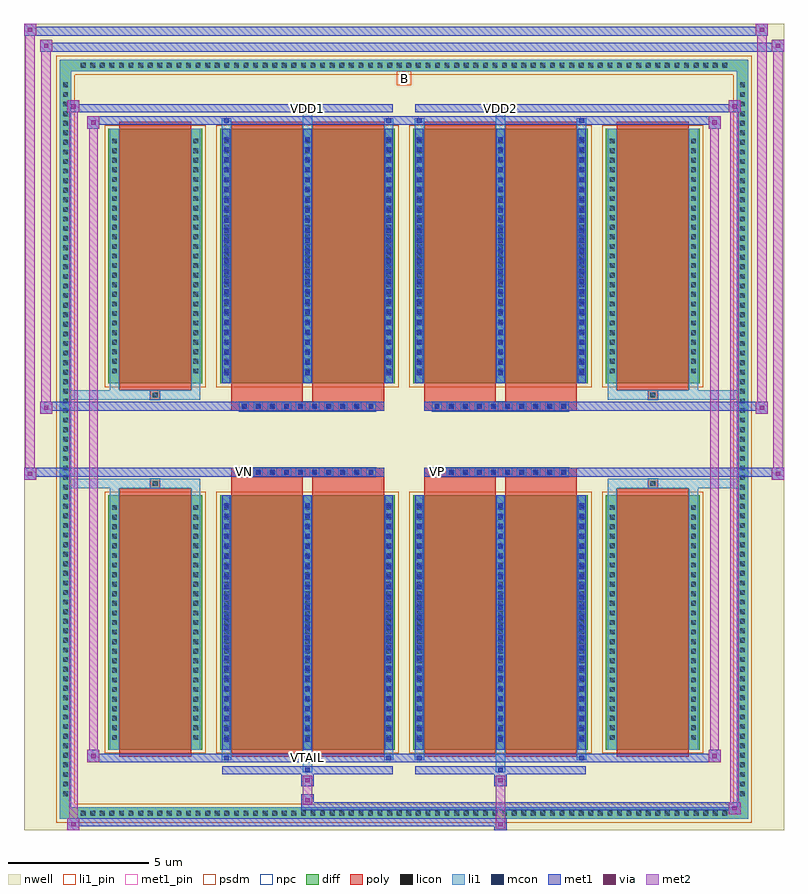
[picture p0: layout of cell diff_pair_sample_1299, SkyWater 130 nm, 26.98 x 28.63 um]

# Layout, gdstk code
import gdstk
lib = gdstk.Library(unit=1e-6, precision=5e-09)
def R(c, l, rs):  # rectangles x0, y0, x1, y1
    for r in rs: c.add(gdstk.rectangle(r[:2], r[2:], *l))
def A(c, l, x, y, w, h, nx, ny, dx, dy):  # array of equal rectangles
    R(c, l, [(x+i*dx, y+j*dy, x+i*dx+w, y+j*dy+h) for i in range(nx) for j in range(ny)])
def P(c, l, *ps):  # polygons
    for p in ps: c.add(gdstk.Polygon(p, *l))
nwell = (64, 20)
diff = (65, 20)
poly = (66, 20)
licon = (66, 44)
li1_pin = (67, 16)
li1 = (67, 20)
mcon = (67, 44)
met1_pin = (68, 16)
met1 = (68, 20)
via = (68, 44)
met2 = (69, 20)
psdm = (94, 20)
npc = (95, 20)

diff_pair_sample_1299 = lib.new_cell('diff_pair_sample_1299')
R(diff_pair_sample_1299, nwell, [(-13.49,-13.88,13.49,14.75), (-10.81,-12.07,-0.01,-0.805), (0.01,-12.07,10.81,-0.805), (-10.81,0.805,-0.01,12.07), (0.01,0.805,10.81,12.07)])
A(diff_pair_sample_1299, diff, -11.595, -13.48, 0.41, 0.41, 68, 2, 0.34, 26.55)
A(diff_pair_sample_1299, diff, -12.22, -12.785, 0.41, 0.41, 1, 75, 0, 0.34)
A(diff_pair_sample_1299, diff, 11.81, -12.785, 0.41, 0.41, 1, 75, 0, 0.34)
R(diff_pair_sample_1299, diff, [(-11.595,-13.48,11.595,-13.07), (-12.22,-12.785,-11.81,12.785), (11.81,-12.785,12.22,12.785), (-10.5,-11.025,-7.17,-1.985), (-6.53,-11.025,-0.32,-1.985), (0.32,-11.025,6.53,-1.985), (7.17,-11.025,10.5,-1.985), (-10.5,1.985,-7.17,11.025), (-6.53,1.985,-0.32,11.025), (0.32,1.985,6.53,11.025), (7.17,1.985,10.5,11.025), (-11.595,13.07,11.595,13.48)])
P(diff_pair_sample_1299, diff, [(12.22,13.48),(-12.22,13.48),(-12.22,-13.07),(-11.81,-13.07),(-11.81,13.07),(11.81,13.07),(11.81,-13.07),(-11.81,-13.07),(-12.22,-13.07),(-12.22,-13.48),(12.22,-13.48)])
A(diff_pair_sample_1299, poly, -5.84, -1.335, 0.33, 0.33, 10, 2, 0.5, 2.34)
A(diff_pair_sample_1299, poly, 1.01, -1.335, 0.33, 0.33, 10, 2, 0.5, 2.34)
R(diff_pair_sample_1299, poly, [(-10.11,-11.275,-7.56,-1.735), (-6.14,-11.275,-3.59,-1.735), (-3.26,-11.275,-0.71,-1.735), (0.71,-11.275,3.26,-1.735), (3.59,-11.275,6.14,-1.735), (7.56,-11.275,10.11,-1.735), (-9,-1.735,-8.67,-1.405), (-9,-1.735,-8.67,-1.405), (-6.14,-1.735,-3.59,-1.335), (-3.26,-1.735,-0.71,-1.335), (0.71,-1.735,3.26,-1.335), (3.59,-1.735,6.14,-1.335), (8.67,-1.735,9,-1.405), (8.67,-1.735,9,-1.405), (-6.14,-1.335,-0.71,-1.005), (0.71,-1.335,6.14,-1.005), (-6.14,1.005,-0.71,1.335), (0.71,1.005,6.14,1.335), (-6.14,1.335,-3.59,1.735), (-3.26,1.335,-0.71,1.735), (0.71,1.335,3.26,1.735), (3.59,1.335,6.14,1.735), (-9,1.405,-8.67,1.735), (-9,1.405,-8.67,1.735), (8.67,1.405,9,1.735), (8.67,1.405,9,1.735), (-10.11,1.735,-7.56,11.275), (-6.14,1.735,-3.59,11.275), (-3.26,1.735,-0.71,11.275), (0.71,1.735,3.26,11.275), (3.59,1.735,6.14,11.275), (7.56,1.735,10.11,11.275)])
A(diff_pair_sample_1299, licon, -11.475, -13.36, 0.17, 0.17, 68, 2, 0.34, 26.55)
A(diff_pair_sample_1299, licon, -12.1, -12.665, 0.17, 0.17, 1, 75, 0, 0.34)
A(diff_pair_sample_1299, licon, 11.93, -12.665, 0.17, 0.17, 1, 75, 0, 0.34)
A(diff_pair_sample_1299, licon, -10.36, -10.67, 0.17, 0.17, 1, 25, 0, 0.34)
A(diff_pair_sample_1299, licon, -7.48, -10.67, 0.17, 0.17, 1, 25, 0, 0.34)
A(diff_pair_sample_1299, licon, -6.39, -10.67, 0.17, 0.17, 3, 25, 2.88, 0.34)
A(diff_pair_sample_1299, licon, 0.46, -10.67, 0.17, 0.17, 3, 25, 2.88, 0.34)
A(diff_pair_sample_1299, licon, 7.31, -10.67, 0.17, 0.17, 1, 25, 0, 0.34)
A(diff_pair_sample_1299, licon, 10.19, -10.67, 0.17, 0.17, 1, 25, 0, 0.34)
A(diff_pair_sample_1299, licon, -5.76, -1.255, 0.17, 0.17, 10, 2, 0.5, 2.34)
A(diff_pair_sample_1299, licon, 1.09, -1.255, 0.17, 0.17, 10, 2, 0.5, 2.34)
A(diff_pair_sample_1299, licon, -10.36, 2.34, 0.17, 0.17, 1, 25, 0, 0.34)
A(diff_pair_sample_1299, licon, -7.48, 2.34, 0.17, 0.17, 1, 25, 0, 0.34)
A(diff_pair_sample_1299, licon, -6.39, 2.34, 0.17, 0.17, 3, 25, 2.88, 0.34)
A(diff_pair_sample_1299, licon, 0.46, 2.34, 0.17, 0.17, 3, 25, 2.88, 0.34)
A(diff_pair_sample_1299, licon, 7.31, 2.34, 0.17, 0.17, 1, 25, 0, 0.34)
A(diff_pair_sample_1299, licon, 10.19, 2.34, 0.17, 0.17, 1, 25, 0, 0.34)
R(diff_pair_sample_1299, licon, [(-8.92,-1.655,-8.75,-1.485), (8.75,-1.655,8.92,-1.485), (-8.92,1.485,-8.75,1.655), (8.75,1.485,8.92,1.655)])
R(diff_pair_sample_1299, li1_pin, [(-0.25,12.57,0.25,13.07)])
A(diff_pair_sample_1299, li1, -11.555, -13.44, 0.33, 0.33, 68, 2, 0.34, 26.55)
A(diff_pair_sample_1299, li1, -12.18, -12.745, 0.33, 0.33, 1, 75, 0, 0.34)
A(diff_pair_sample_1299, li1, 11.85, -12.745, 0.33, 0.33, 1, 75, 0, 0.34)
A(diff_pair_sample_1299, li1, -6.47, -11.025, 0.33, 9.04, 3, 2, 2.88, 13.01)
A(diff_pair_sample_1299, li1, 0.38, -11.025, 0.33, 9.04, 3, 2, 2.88, 13.01)
A(diff_pair_sample_1299, li1, -10.44, -10.75, 0.33, 0.33, 1, 25, 0, 0.34)
A(diff_pair_sample_1299, li1, -7.56, -10.75, 0.33, 0.33, 1, 25, 0, 0.34)
A(diff_pair_sample_1299, li1, -6.47, -10.75, 0.33, 0.33, 3, 25, 2.88, 0.34)
A(diff_pair_sample_1299, li1, 0.38, -10.75, 0.33, 0.33, 3, 25, 2.88, 0.34)
A(diff_pair_sample_1299, li1, 7.23, -10.75, 0.33, 0.33, 1, 25, 0, 0.34)
A(diff_pair_sample_1299, li1, 10.11, -10.75, 0.33, 0.33, 1, 25, 0, 0.34)
A(diff_pair_sample_1299, li1, -6.39, -10.73, 0.17, 0.17, 3, 24, 2.88, 0.36)
A(diff_pair_sample_1299, li1, -6.39, -10.73, 0.17, 8.45, 3, 2, 2.88, 13.01)
A(diff_pair_sample_1299, li1, 0.46, -10.73, 0.17, 0.17, 3, 24, 2.88, 0.36)
A(diff_pair_sample_1299, li1, 0.46, -10.73, 0.17, 8.45, 3, 2, 2.88, 13.01)
A(diff_pair_sample_1299, li1, -5.84, -1.335, 0.33, 0.33, 10, 2, 0.5, 2.34)
A(diff_pair_sample_1299, li1, 1.01, -1.335, 0.33, 0.33, 10, 2, 0.5, 2.34)
A(diff_pair_sample_1299, li1, -10.44, 2.26, 0.33, 0.33, 1, 25, 0, 0.34)
A(diff_pair_sample_1299, li1, -7.56, 2.26, 0.33, 0.33, 1, 25, 0, 0.34)
A(diff_pair_sample_1299, li1, -6.47, 2.26, 0.33, 0.33, 3, 25, 2.88, 0.34)
A(diff_pair_sample_1299, li1, 0.38, 2.26, 0.33, 0.33, 3, 25, 2.88, 0.34)
A(diff_pair_sample_1299, li1, 7.23, 2.26, 0.33, 0.33, 1, 25, 0, 0.34)
A(diff_pair_sample_1299, li1, 10.11, 2.26, 0.33, 0.33, 1, 25, 0, 0.34)
A(diff_pair_sample_1299, li1, -6.39, 2.28, 0.17, 0.17, 3, 24, 2.88, 0.36)
A(diff_pair_sample_1299, li1, 0.46, 2.28, 0.17, 0.17, 3, 24, 2.88, 0.36)
R(diff_pair_sample_1299, li1, [(-12.22,-13.48,-11.81,-13.07), (-12.22,-13.48,-11.81,-13.07), (-11.81,-13.48,11.81,-13.07), (11.81,-13.48,12.22,-13.07), (11.81,-13.48,12.22,-13.07), (-12.22,-13.07,-11.81,13.07), (11.81,-13.07,12.22,13.07), (-3.59,-11.83,-3.26,-11.025), (-3.51,-11.83,-3.34,-11.66), (3.26,-11.83,3.59,-11.025), (3.34,-11.83,3.51,-11.66), (-6.47,-11.4,-6.14,-11.025), (-6.39,-11.4,-6.22,-11.23), (-0.71,-11.4,-0.38,-11.025), (-0.63,-11.4,-0.46,-11.23), (0.38,-11.4,0.71,-11.025), (0.46,-11.4,0.63,-11.23), (6.14,-11.4,6.47,-11.025), (6.22,-11.4,6.39,-11.23), (-10.44,-11.025,-10.11,-1.985), (-7.56,-11.025,-7.23,-1.985), (7.23,-11.025,7.56,-1.985), (10.11,-11.025,10.44,-1.985), (-10.44,-1.985,-10.11,-1.405), (-7.56,-1.985,-7.23,-1.405), (7.23,-1.985,7.56,-1.405), (10.11,-1.985,10.44,-1.405), (-12.22,-1.735,-9,-1.405), (-10.44,-1.735,-9,-1.405), (-9,-1.735,-8.67,-1.405), (-8.67,-1.735,-7.23,-1.405), (7.23,-1.735,8.67,-1.405), (8.67,-1.735,9,-1.405), (8.67,-1.735,12.22,-1.405), (9,-1.735,10.44,-1.405), (-12.22,1.405,-9,1.735), (-10.44,1.405,-9,1.735), (-10.44,1.405,-10.11,1.985), (-9,1.405,-8.67,1.735), (-8.67,1.405,-7.23,1.735), (-7.56,1.405,-7.23,1.985), (7.23,1.405,8.67,1.735), (7.23,1.405,7.56,1.985), (8.67,1.405,9,1.735), (8.67,1.405,12.22,1.735), (9,1.405,10.44,1.735), (10.11,1.405,10.44,1.985), (-10.44,1.985,-10.11,11.025), (-7.56,1.985,-7.23,11.025), (7.23,1.985,7.56,11.025), (10.11,1.985,10.44,11.025), (-6.47,11.025,-6.14,11.4), (-3.59,11.025,-3.26,11.83), (-0.71,11.025,-0.38,11.4), (0.38,11.025,0.71,11.4), (3.26,11.025,3.59,11.83), (6.14,11.025,6.47,11.4), (-6.39,11.23,-6.22,11.4), (-0.63,11.23,-0.46,11.4), (0.46,11.23,0.63,11.4), (6.22,11.23,6.39,11.4), (-3.51,11.66,-3.34,11.83), (3.34,11.66,3.51,11.83), (-12.22,13.07,-11.81,13.48), (-12.22,13.07,-11.81,13.48), (-11.81,13.07,11.81,13.48), (11.81,13.07,12.22,13.48), (11.81,13.07,12.22,13.48)])
A(diff_pair_sample_1299, mcon, -6.39, -10.73, 0.17, 0.17, 3, 24, 2.88, 0.36)
A(diff_pair_sample_1299, mcon, 0.46, -10.73, 0.17, 0.17, 3, 24, 2.88, 0.36)
A(diff_pair_sample_1299, mcon, -5.76, -1.255, 0.17, 0.17, 10, 2, 0.5, 2.34)
A(diff_pair_sample_1299, mcon, 1.09, -1.255, 0.17, 0.17, 10, 2, 0.5, 2.34)
A(diff_pair_sample_1299, mcon, -6.39, 2.28, 0.17, 0.17, 3, 24, 2.88, 0.36)
A(diff_pair_sample_1299, mcon, 0.46, 2.28, 0.17, 0.17, 3, 24, 2.88, 0.36)
R(diff_pair_sample_1299, mcon, [(-3.51,-11.83,-3.34,-11.66), (3.34,-11.83,3.51,-11.66), (-6.39,-11.4,-6.22,-11.23), (-0.63,-11.4,-0.46,-11.23), (0.46,-11.4,0.63,-11.23), (6.22,-11.4,6.39,-11.23), (-6.39,11.23,-6.22,11.4), (-0.63,11.23,-0.46,11.4), (0.46,11.23,0.63,11.4), (6.22,11.23,6.39,11.4), (-3.51,11.66,-3.34,11.83), (3.34,11.66,3.51,11.83)])
R(diff_pair_sample_1299, met1_pin, [(-3.56,-11.44,-3.29,-11.17), (-5.81,-1.295,-5.54,-1.025), (1.04,-1.295,1.31,-1.025), (-3.56,11.62,-3.29,11.89), (3.29,11.62,3.56,11.89)])
A(diff_pair_sample_1299, met1, -6.45, -11.025, 0.29, 9.04, 3, 2, 2.88, 13.01)
A(diff_pair_sample_1299, met1, 0.4, -11.025, 0.29, 9.04, 3, 2, 2.88, 13.01)
A(diff_pair_sample_1299, met1, -6.45, -10.79, 0.29, 0.29, 3, 24, 2.88, 0.36)
A(diff_pair_sample_1299, met1, 0.4, -10.79, 0.29, 0.29, 3, 24, 2.88, 0.36)
A(diff_pair_sample_1299, met1, -5.82, -1.315, 0.29, 0.29, 10, 2, 0.5, 2.34)
A(diff_pair_sample_1299, met1, 1.03, -1.315, 0.29, 0.29, 10, 2, 0.5, 2.34)
A(diff_pair_sample_1299, met1, -6.45, 2.22, 0.29, 0.29, 3, 24, 2.88, 0.36)
A(diff_pair_sample_1299, met1, 0.4, 2.22, 0.29, 0.29, 3, 24, 2.88, 0.36)
R(diff_pair_sample_1299, met1, [(-11.95,-13.88,-11.52,-13.45), (3.21,-13.88,3.64,-13.45), (-11.95,-13.74,3.64,-13.45), (11.52,-13.31,11.95,-12.88), (-3.64,-13.17,11.95,-12.88), (-3.64,-13.03,-3.21,-12.6), (-3.64,-12.32,-3.21,-11.89), (3.21,-12.32,3.64,-11.89), (-6.45,-11.89,-0.4,-11.6), (-3.57,-11.89,-3.28,-11.6), (0.4,-11.89,6.45,-11.6), (3.28,-11.89,3.57,-11.6), (-11.24,-11.46,-10.81,-11.03), (-11.24,-11.46,-6.45,-11.17), (-6.45,-11.46,-6.16,-11.17), (-6.45,-11.46,-0.4,-11.17), (-0.69,-11.46,-0.4,-11.17), (-0.4,-11.46,0.4,-11.17), (0.4,-11.46,0.69,-11.17), (0.4,-11.46,6.45,-11.17), (6.16,-11.46,6.45,-11.17), (6.45,-11.46,11.24,-11.17), (10.81,-11.46,11.24,-11.03), (-13.49,-1.435,-13.06,-1.005), (13.06,-1.435,13.49,-1.005), (-13.49,-1.335,-0.71,-1.005), (-6.14,-1.335,-0.71,-1.005), (0.71,-1.335,6.14,-1.005), (0.71,-1.335,13.49,-1.005), (-12.92,0.905,-12.49,1.335), (12.49,0.905,12.92,1.335), (-12.92,1.005,-6.14,1.335), (-6.14,1.005,-0.71,1.335), (0.71,1.005,6.14,1.335), (6.14,1.005,12.92,1.335), (-11.24,11.03,-10.81,11.46), (10.81,11.03,11.24,11.46), (-11.24,11.17,-6.45,11.46), (-6.45,11.17,-6.16,11.46), (-6.45,11.17,-0.4,11.46), (-0.69,11.17,-0.4,11.46), (-0.4,11.17,0.4,11.46), (0.4,11.17,0.69,11.46), (0.4,11.17,6.45,11.46), (6.16,11.17,6.45,11.46), (6.45,11.17,11.24,11.46), (-11.95,11.6,-11.52,12.03), (-11.95,11.6,-6.45,11.89), (-6.45,11.6,-0.4,11.89), (-3.57,11.6,-3.28,11.89), (0.4,11.6,6.45,11.89), (3.28,11.6,3.57,11.89), (6.45,11.6,11.95,11.89), (11.52,11.6,11.95,12.03), (-12.92,13.75,-12.49,14.18), (-12.92,13.75,-10.81,14.08), (-10.81,13.75,10.81,14.08), (10.81,13.75,13.49,14.08), (13.06,13.75,13.49,14.18), (-13.49,14.32,-13.06,14.75), (-13.49,14.32,-10.81,14.65), (-10.81,14.32,10.81,14.65), (10.81,14.32,12.92,14.65), (12.49,14.32,12.92,14.75)])
R(diff_pair_sample_1299, via, [(-11.81,-13.74,-11.66,-13.59), (3.35,-13.74,3.5,-13.59), (11.66,-13.17,11.81,-13.02), (-3.5,-12.89,-3.35,-12.74), (-3.5,-12.18,-3.35,-12.03), (3.35,-12.18,3.5,-12.03), (-11.1,-11.32,-10.95,-11.17), (10.95,-11.32,11.1,-11.17), (-13.35,-1.295,-13.2,-1.145), (13.2,-1.295,13.35,-1.145), (-12.78,1.045,-12.63,1.195), (12.63,1.045,12.78,1.195), (-11.1,11.17,-10.95,11.32), (10.95,11.17,11.1,11.32), (-11.81,11.74,-11.66,11.89), (11.66,11.74,11.81,11.89), (-12.78,13.89,-12.63,14.04), (13.2,13.89,13.35,14.04), (-13.35,14.46,-13.2,14.61), (12.63,14.46,12.78,14.61)])
R(diff_pair_sample_1299, met2, [(-11.95,-13.88,-11.52,-13.45), (-11.88,-13.88,-11.59,12.03), (-11.59,-13.88,-11.52,-13.45), (-11.9,-13.83,-11.57,-13.5), (3.26,-13.83,3.59,-13.5), (3.26,-13.5,3.59,-12.27), (11.52,-13.31,11.95,-12.88), (11.59,-13.31,11.88,12.03), (11.88,-13.31,11.95,-12.88), (11.57,-13.26,11.9,-12.93), (-3.59,-12.98,-3.26,-12.65), (-3.59,-12.65,-3.26,-12.27), (-3.59,-12.27,-3.26,-11.94), (3.26,-12.27,3.59,-11.94), (-11.24,-11.46,-10.81,-11.03), (-11.17,-11.46,-10.88,11.46), (-10.88,-11.46,-10.81,-11.03), (10.81,-11.46,11.24,-11.03), (10.88,-11.46,11.17,11.46), (11.17,-11.46,11.24,-11.03), (-11.19,-11.41,-10.86,-11.08), (10.86,-11.41,11.19,-11.08), (-13.49,-1.435,-13.06,-1.005), (-13.44,-1.435,-13.11,14.75), (-13.11,-1.435,-13.06,-1.005), (13.06,-1.435,13.49,-1.005), (13.11,-1.435,13.44,14.18), (13.44,-1.435,13.49,-1.005), (-13.44,-1.385,-13.11,-1.055), (13.11,-1.385,13.44,-1.055), (-12.92,0.905,-12.49,1.335), (-12.87,0.905,-12.54,14.18), (-12.54,0.905,-12.49,1.335), (12.49,0.905,12.92,1.335), (12.54,0.905,12.87,14.75), (12.87,0.905,12.92,1.335), (-12.87,0.955,-12.54,1.285), (12.54,0.955,12.87,1.285), (-11.24,11.03,-10.81,11.46), (-10.88,11.03,-10.81,11.46), (10.81,11.03,11.24,11.46), (11.17,11.03,11.24,11.46), (-11.19,11.08,-10.86,11.41), (10.86,11.08,11.19,11.41), (-11.95,11.6,-11.52,12.03), (-11.59,11.6,-11.52,12.03), (11.52,11.6,11.95,12.03), (11.88,11.6,11.95,12.03), (-11.9,11.65,-11.57,11.98), (11.57,11.65,11.9,11.98), (-12.92,13.75,-12.49,14.18), (-12.54,13.75,-12.49,14.18), (13.06,13.75,13.49,14.18), (13.44,13.75,13.49,14.18), (-12.87,13.8,-12.54,14.13), (13.11,13.8,13.44,14.13), (-13.49,14.32,-13.06,14.75), (-13.11,14.32,-13.06,14.75), (12.49,14.32,12.92,14.75), (12.87,14.32,12.92,14.75), (-13.44,14.37,-13.11,14.7), (12.54,14.37,12.87,14.7)])
R(diff_pair_sample_1299, psdm, [(-10.63,-11.155,-7.04,-1.855), (-6.66,-11.155,-0.19,-1.855), (0.19,-11.155,6.66,-1.855), (7.04,-11.155,10.63,-1.855), (-10.63,1.855,-7.04,11.155), (-6.66,1.855,-0.19,11.155), (0.19,1.855,6.66,11.155), (7.04,1.855,10.63,11.155)])
P(diff_pair_sample_1299, psdm, [(12.35,13.61),(-12.35,13.61),(-12.35,-12.94),(-11.68,-12.94),(-11.68,12.94),(11.68,12.94),(11.68,-12.94),(-11.68,-12.94),(-12.35,-12.94),(-12.35,-13.61),(12.35,-13.61)])
A(diff_pair_sample_1299, npc, -5.86, -1.355, 0.37, 0.37, 10, 2, 0.5, 2.34)
A(diff_pair_sample_1299, npc, 0.99, -1.355, 0.37, 0.37, 10, 2, 0.5, 2.34)
R(diff_pair_sample_1299, npc, [(-9.02,-1.755,-8.65,-1.385), (8.65,-1.755,9.02,-1.385), (-5.86,-1.355,-4.99,-0.985), (-5.86,-1.355,-4.99,-0.985), (-5.36,-1.355,-4.49,-0.985), (-5.36,-1.355,-4.49,-0.985), (-4.86,-1.355,-3.99,-0.985), (-4.86,-1.355,-3.99,-0.985), (-4.36,-1.355,-3.49,-0.985), (-4.36,-1.355,-3.49,-0.985), (-3.86,-1.355,-2.99,-0.985), (-3.86,-1.355,-2.99,-0.985), (-3.36,-1.355,-2.49,-0.985), (-3.36,-1.355,-2.49,-0.985), (-2.86,-1.355,-1.99,-0.985), (-2.86,-1.355,-1.99,-0.985), (-2.36,-1.355,-1.49,-0.985), (-2.36,-1.355,-1.49,-0.985), (-1.86,-1.355,-0.99,-0.985), (-1.86,-1.355,-0.99,-0.985), (0.99,-1.355,1.86,-0.985), (0.99,-1.355,1.86,-0.985), (1.49,-1.355,2.36,-0.985), (1.49,-1.355,2.36,-0.985), (1.99,-1.355,2.86,-0.985), (1.99,-1.355,2.86,-0.985), (2.49,-1.355,3.36,-0.985), (2.49,-1.355,3.36,-0.985), (2.99,-1.355,3.86,-0.985), (2.99,-1.355,3.86,-0.985), (3.49,-1.355,4.36,-0.985), (3.49,-1.355,4.36,-0.985), (3.99,-1.355,4.86,-0.985), (3.99,-1.355,4.86,-0.985), (4.49,-1.355,5.36,-0.985), (4.49,-1.355,5.36,-0.985), (4.99,-1.355,5.86,-0.985), (4.99,-1.355,5.86,-0.985), (-5.86,0.985,-4.99,1.355), (-5.86,0.985,-4.99,1.355), (-5.36,0.985,-4.49,1.355), (-5.36,0.985,-4.49,1.355), (-4.86,0.985,-3.99,1.355), (-4.86,0.985,-3.99,1.355), (-4.36,0.985,-3.49,1.355), (-4.36,0.985,-3.49,1.355), (-3.86,0.985,-2.99,1.355), (-3.86,0.985,-2.99,1.355), (-3.36,0.985,-2.49,1.355), (-3.36,0.985,-2.49,1.355), (-2.86,0.985,-1.99,1.355), (-2.86,0.985,-1.99,1.355), (-2.36,0.985,-1.49,1.355), (-2.36,0.985,-1.49,1.355), (-1.86,0.985,-0.99,1.355), (-1.86,0.985,-0.99,1.355), (0.99,0.985,1.86,1.355), (0.99,0.985,1.86,1.355), (1.49,0.985,2.36,1.355), (1.49,0.985,2.36,1.355), (1.99,0.985,2.86,1.355), (1.99,0.985,2.86,1.355), (2.49,0.985,3.36,1.355), (2.49,0.985,3.36,1.355), (2.99,0.985,3.86,1.355), (2.99,0.985,3.86,1.355), (3.49,0.985,4.36,1.355), (3.49,0.985,4.36,1.355), (3.99,0.985,4.86,1.355), (3.99,0.985,4.86,1.355), (4.49,0.985,5.36,1.355), (4.49,0.985,5.36,1.355), (4.99,0.985,5.86,1.355), (4.99,0.985,5.86,1.355), (-9.02,1.385,-8.65,1.755), (8.65,1.385,9.02,1.755)])
diff_pair_sample_1299.add(gdstk.Label('VTAIL', (-3.425,-11.305), layer=68, texttype=5))
diff_pair_sample_1299.add(gdstk.Label('VN', (-5.675,-1.16), layer=68, texttype=5))
diff_pair_sample_1299.add(gdstk.Label('VP', (1.175,-1.16), layer=68, texttype=5))
diff_pair_sample_1299.add(gdstk.Label('B', (0,12.82), layer=67, texttype=5))
diff_pair_sample_1299.add(gdstk.Label('VDD2', (3.425,11.755), layer=68, texttype=5))
diff_pair_sample_1299.add(gdstk.Label('VDD1', (-3.425,11.755), layer=68, texttype=5))

lib.write_gds('diff_pair_sample_1299.gds')
